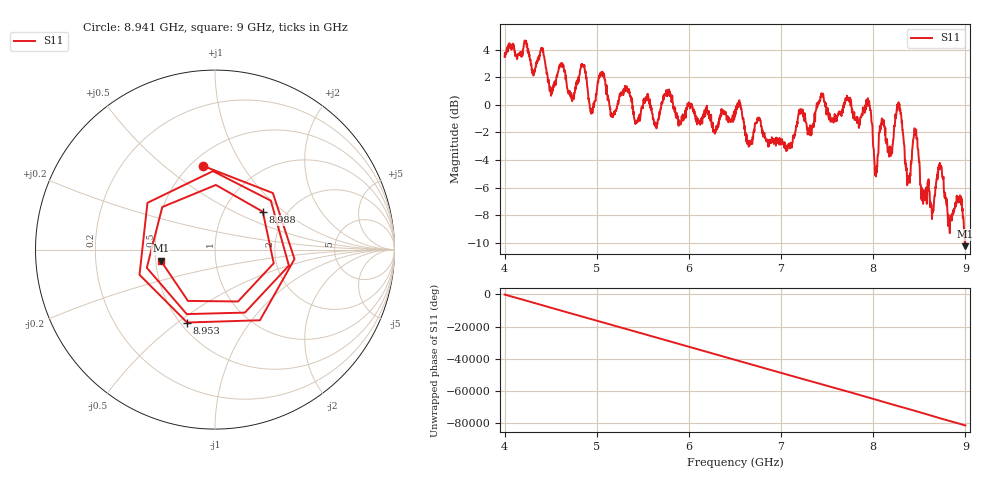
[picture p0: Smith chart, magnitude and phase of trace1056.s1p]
! Created with skrf 1.8.0 (http://scikit-rf.org).
# Hz S RI R 50.0
!freq ReS11 ImS11
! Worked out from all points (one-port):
!   1601 points, 4 GHz to 9 GHz, reference 50 ohm
!   lowest |S11| = -10.2 dB at 9 GHz (marker M1), VSWR 1.89, Z = 26.6 - j3.68 ohm
!   |S11| at or under -10 dB: 8.993988 GHz to 8.994034 GHz (46.82 kHz wide, 0.000521 % of centre); 8.99836 GHz to end of sweep
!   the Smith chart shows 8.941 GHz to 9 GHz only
!   S11 on the Smith chart (normalised r, x): 8.941 GHz: 0.58, +0.69; 8.953 GHz: 0.54, -0.54; 8.988 GHz: 1.52, +0.72; 9 GHz: 0.53, -0.07
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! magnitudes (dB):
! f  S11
! 4 GHz  3.5
! 4.406 GHz  4.1
! 4.509 GHz  0.8
! 4.625 GHz  2.9
! 4.734 GHz  0.3
! 4.856 GHz  2.9
! 4.944 GHz  -0.6
! 5.053 GHz  2.1
! 5.166 GHz  -0.7
! 5.25 GHz  0.8
! 5.875 GHz  -1.0
! 6.5 GHz  -0.4
! 7.125 GHz  -2.7
! 7.75 GHz  0.5
! 7.95 GHz  0.0
! 8.031 GHz  -4.7
! 8.091 GHz  -1.1
! 8.181 GHz  -3.4
! 8.278 GHz  -0.1
! 8.375 GHz  -5.1
! 8.453 GHz  -2.1
! 8.541 GHz  -7.2
! 8.725 GHz  -4.5
! 8.831 GHz  -9.3
! 8.941 GHz  -6.6
! 8.953 GHz  -7.2
! 8.988 GHz  -9.4
! 9 GHz  -10.2
